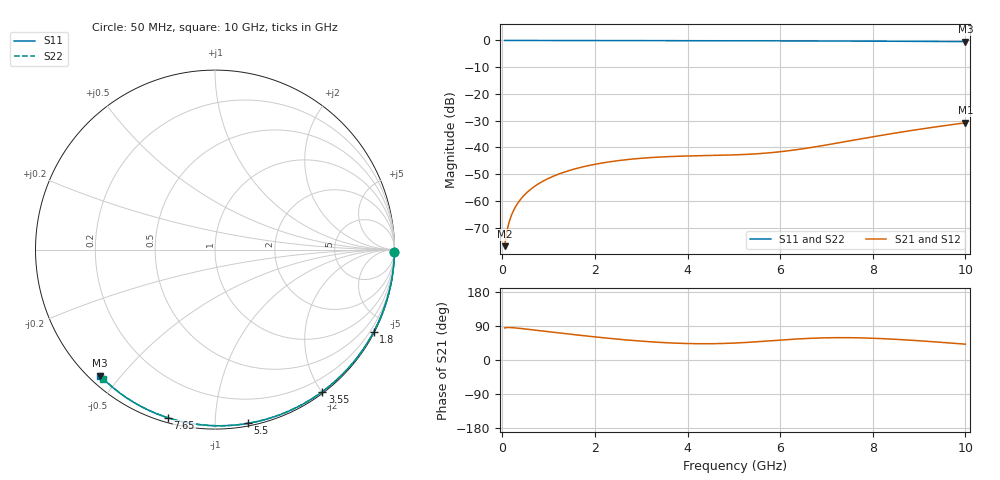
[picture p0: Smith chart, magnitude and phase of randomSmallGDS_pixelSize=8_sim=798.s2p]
! freq	dB(S11)	phase(S11)	dB(S12)	phase(S12)
!  dB(S21)	phase(S21)	dB(S22)	phase(S22)
!S-par simulation data
#  GHz  S  DB  R 50
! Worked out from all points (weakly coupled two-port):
!   200 points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, 50 MHz to 10 GHz, reference 50 ohm
!   highest |S21| = -30.79 dB at 10 GHz (marker M1); lowest = -76.9 dB at 50 MHz (marker M2)
!   lowest |S11| = -0.4 dB at 10 GHz (marker M3), VSWR 39.53, Z = 1.51 - j22.1 ohm
!   |S11| at or under -10 dB: nowhere
!   |S22| runs from -0.4 to 0.0 dB; largest |S21 - S12| = 0
!   S11 on the Smith chart (normalised r, x): 50 MHz: open; 1.8 GHz: 0.04, -4.09; 3.55 GHz: 0.02, -2.01; 5.5 GHz: 0.02, -1.21; 7.65 GHz: 0.02, -0.76; 10 GHz: 0.03, -0.44
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0.05  -0.00 -0.8  -76.90 84.6  -76.90 84.6  -0.00 -0.8
0.1  -0.00 -1.6  -71.16 85.6  -71.16 85.6  -0.00 -1.5
0.15  -0.00 -2.3  -67.71 85.7  -67.71 85.7  -0.00 -2.3
0.2  -0.00 -3.1  -65.24 85.4  -65.24 85.4  -0.00 -3.1
0.25  -0.00 -3.9  -63.32 85.0  -63.32 85.0  -0.00 -3.8
0.35  -0.00 -5.4  -60.43 83.8  -60.43 83.8  -0.00 -5.4
0.5  -0.01 -7.7  -57.37 81.8  -57.37 81.8  -0.01 -7.7
0.7  -0.01 -10.8  -54.51 79.0  -54.51 79.0  -0.01 -10.7
1  -0.02 -15.4  -51.54 74.7  -51.54 74.7  -0.02 -15.2
1.35  -0.03 -20.7  -49.15 69.7  -49.15 69.7  -0.03 -20.5
1.75  -0.03 -26.7  -47.21 64.2  -47.21 64.2  -0.03 -26.4
1.8  -0.04 -27.5  -47.01 63.6  -47.01 63.6  -0.03 -27.2
2.5  -0.05 -37.8  -44.93 54.9  -44.93 54.9  -0.05 -37.4
3.4  -0.07 -50.8  -43.58 46.5  -43.58 46.5  -0.07 -50.2
3.55  -0.07 -52.9  -43.45 45.5  -43.45 45.5  -0.07 -52.3
4.3  -0.09 -63.3  -43.06 42.9  -43.06 42.9  -0.09 -62.6
5.05  -0.11 -73.3  -42.75 44.9  -42.75 44.9  -0.11 -72.5
5.5  -0.13 -79.2  -42.37 48.1  -42.37 48.1  -0.13 -78.3
6.7  -0.18 -94.2  -39.93 57.5  -39.93 57.5  -0.18 -93.2
7.65  -0.24 -105.6  -37.08 58.6  -37.08 58.6  -0.23 -104.4
8.35  -0.29 -113.7  -35.00 55.5  -35.00 55.5  -0.28 -112.5
10  -0.44 -132.3  -30.79 41.7  -30.79 41.7  -0.43 -130.8
